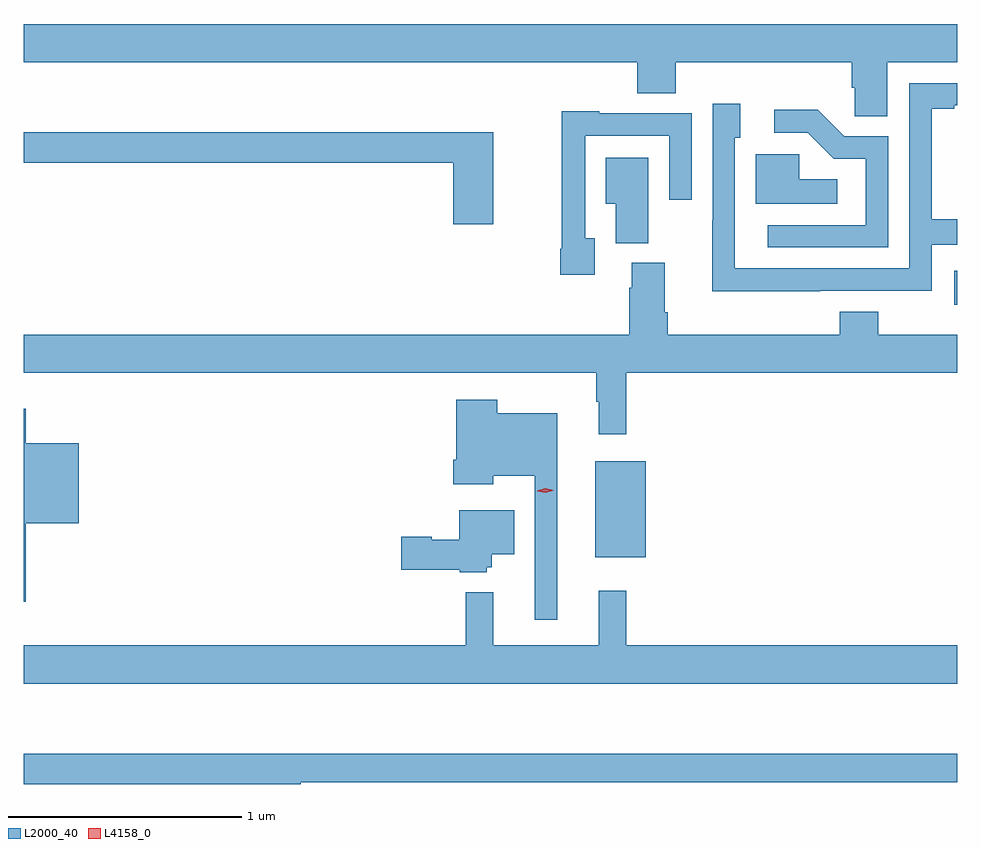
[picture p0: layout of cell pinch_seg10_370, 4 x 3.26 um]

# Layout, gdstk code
import gdstk
lib = gdstk.Library(unit=1e-6, precision=1e-09)
def R(c, l, rs):  # rectangles x0, y0, x1, y1
    for r in rs: c.add(gdstk.rectangle(r[:2], r[2:], *l))
def P(c, l, *ps):  # polygons
    for p in ps: c.add(gdstk.Polygon(p, *l))
L2000_40 = (2000, 40)
L4158_0 = (4158, 0)

pinch_seg10_370 = lib.new_cell('pinch_seg10_370')
R(pinch_seg10_370, L2000_40, [(555.551,1254.239,555.766,1254.649), (557.088,1255.32,557.101,1255.467)])
P(pinch_seg10_370, L2000_40, [(556.801,1256.36),(557.101,1256.36),(557.101,1256.524),(553.101,1256.524),(553.101,1256.36),(555.731,1256.36),(555.731,1256.227),(555.896,1256.227),(555.896,1256.36),(556.649,1256.36),(556.649,1256.251),(556.662,1256.251),(556.662,1256.128),(556.801,1256.128)],
  [(556.514,1255.38),(556.992,1255.38),(556.992,1255.578),(557.101,1255.578),(557.101,1255.687),(556.993,1255.687),(556.993,1256.16),(557.089,1256.16),(557.089,1256.175),(557.101,1256.175),(557.101,1256.271),(556.896,1256.271),(556.896,1255.476),(556.149,1255.476),(556.149,1256.037),(556.171,1256.037),(556.171,1256.182),(556.053,1256.182),(556.053,1255.682),(556.052,1255.682),(556.052,1255.379),(556.514,1255.379)],
  [(556.806,1256.043),(556.617,1256.043),(556.504,1256.156),(556.317,1256.156),(556.317,1256.058),(556.461,1256.058),(556.572,1255.947),(556.71,1255.947),(556.71,1255.662),(556.29,1255.662),(556.29,1255.566),(556.806,1255.566)],
  [(555.547,1255.605),(555.507,1255.605),(555.507,1256.046),(555.867,1256.046),(555.867,1255.77),(555.963,1255.77),(555.963,1256.142),(555.567,1256.142),(555.567,1256.149),(555.406,1256.149),(555.406,1255.561),(555.399,1255.561),(555.399,1255.449),(555.547,1255.449)],
  [(555.112,1256.059),(553.101,1256.059),(553.101,1255.93),(554.942,1255.93),(554.942,1255.665),(555.112,1255.665)],
  [(556.588,1255.858),(556.425,1255.858),(556.425,1255.965),(556.238,1255.965),(556.238,1255.754),(556.588,1255.754)],
  [(555.778,1255.951),(555.596,1255.951),(555.596,1255.754),(555.638,1255.754),(555.638,1255.585),(555.778,1255.585)],
  [(555.683,1255.028),(557.101,1255.028),(557.101,1255.192),(556.763,1255.192),(556.763,1255.291),(556.598,1255.291),(556.598,1255.192),(555.86,1255.192),(555.86,1255.288),(555.847,1255.288),(555.847,1255.5),(555.707,1255.5),(555.707,1255.394),(555.695,1255.394),(555.695,1255.192),(553.101,1255.192),(553.101,1255.028),(555.555,1255.028),(555.555,1254.905),(555.566,1254.905),(555.566,1254.765),(555.683,1254.765)],
  [(555.388,1254.856),(555.129,1254.856),(555.129,1254.913),(554.954,1254.913),(554.954,1254.655),(554.942,1254.655),(554.942,1254.551),(555.112,1254.551),(555.112,1254.587),(555.291,1254.587),(555.291,1253.97),(555.388,1253.97)],
  [(553.109,1254.383),(553.336,1254.383),(553.336,1254.727),(553.109,1254.727),(553.109,1254.874),(553.101,1254.874),(553.101,1254.048),(553.109,1254.048)],
  [(555.084,1254.195),(555.106,1254.195),(555.106,1254.251),(555.202,1254.251),(555.202,1254.439),(554.966,1254.439),(554.966,1254.313),(554.85,1254.313),(554.85,1254.326),(554.718,1254.326),(554.718,1254.184),(554.97,1254.184),(554.97,1254.173),(555.084,1254.173)],
  [(557.101,1253.86),(555.683,1253.86),(555.683,1254.094),(555.566,1254.094),(555.566,1253.86),(555.113,1253.86),(555.113,1254.088),(554.995,1254.088),(554.995,1253.86),(553.101,1253.86),(553.101,1253.696),(557.101,1253.696)],
  [(554.288,1253.274),(557.101,1253.274),(557.101,1253.395),(553.101,1253.395),(553.101,1253.266),(554.288,1253.266)])
P(pinch_seg10_370, L4158_0, [(555.337,1254.514),(555.301,1254.522),(555.301,1254.523),(555.301,1254.523),(555.336,1254.534),(555.372,1254.526),(555.373,1254.525),(555.372,1254.525)])

lib.write_gds('pinch_seg10_370.gds')
